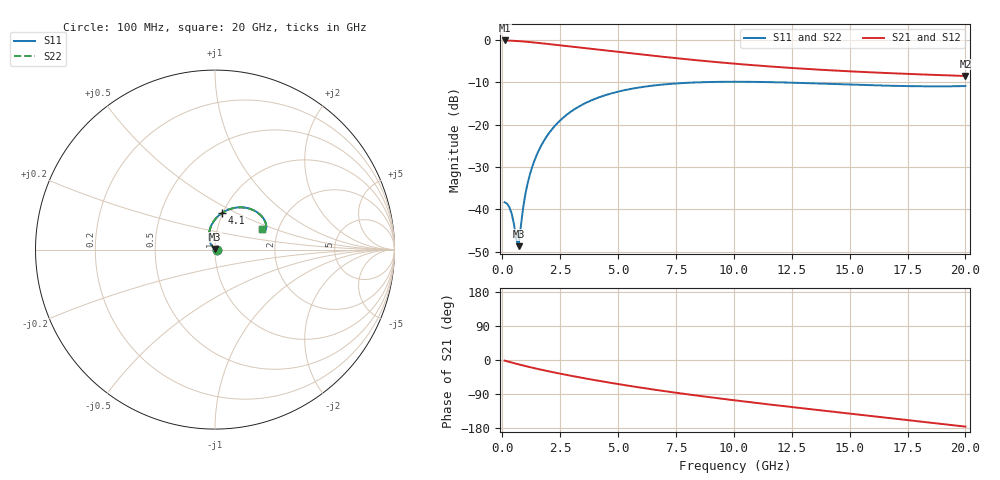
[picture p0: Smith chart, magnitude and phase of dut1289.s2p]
! Touchstone file exported from HFSS 2024.1.0
!  File:  C:/UserFiles/LocalFiles/RDL_TSV_Batchsim/temp_RDL_TSV_1289_1780279431.aedt
!  Generated:  10:16:05 AM Jun  1, 2026
!  Design:  RDL_TSV
!  Project:  temp_RDL_TSV_1289_1780279431
!  Setup:  Setup1
!  Solution:  Sweep
! Variables:
!  dtsv = 13.96um
!  hbump = 3um
!  htsv = 58.2um
!  ldown = 515.19um
!  lrdl = 253.26um
!  p = 40
!  p1 = 54.18um
!  rhole = 10um
!  subl = 2558.61um
!  t = 450um
!  tdown = 3.6um
!  trdl = 4.96um
!  viad = 10um
!  wdown = 17.43um
!  wrdl = 23.64um
!  xbump = 18um
# GHz S MA R 50.000000
! Terminal data exported
! Port[1] = TM1_1_T1
! Port[2] = TM1_4_T1
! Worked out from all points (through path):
!   200 points, 100 MHz to 20 GHz, reference 50 ohm
!   highest |S21| = -0.11 dB at 100 MHz (marker M1); lowest = -8.5 dB at 20 GHz (marker M2)
!   group delay of S21, straight-line fit = 22.8 ps
!   lowest |S11| = -48.7 dB at 700 MHz (marker M3), VSWR 1.01, Z = 50.1 + j0.359 ohm
!   |S11| at or under -10 dB: start of sweep to 8.516 GHz; 11.88 GHz to end of sweep
!   |S22| runs from -48.8 to -9.9 dB; largest |S21 - S12| = 3.3e-14
!   S11 on the Smith chart (normalised r, x): 100 MHz: 1.02, +0.00; 4.1 GHz: 0.99, +0.42; 20 GHz: 1.64, +0.41
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0.1  0.01207 1.6  0.9873 -1.7  0.9873 -1.7  0.01207 1.6
! Gamma 0 0 0 0
! Port Impedance 50 0 50 0
0.3  0.01064 2.6  0.9836 -5.0  0.9836 -5.0  0.01065 2.6
0.4  0.008976 4.1  0.9808 -6.6  0.9808 -6.6  0.008984 4.1
0.5  0.006765 9.7  0.9777 -8.3  0.9777 -8.3  0.006776 9.6
0.6  0.004417 28.3  0.9741 -9.8  0.9741 -9.8  0.004427 28.1
0.7  0.003657 78.4  0.97 -11.4  0.97 -11.4  0.003649 78.1
0.9  0.01043 126.9  0.9607 -14.5  0.9607 -14.5  0.01039 126.9
1  0.01526 130.4  0.9556 -16.0  0.9556 -16.0  0.01522 130.4
1.2  0.02618 130.4  0.9446 -18.9  0.9446 -18.9  0.02612 130.4
1.5  0.04462 125.5  0.9269 -23.2  0.9269 -23.2  0.04453 125.5
1.9  0.07128 117.3  0.9021 -28.5  0.9021 -28.5  0.07114 117.3
2.3  0.09859 109.2  0.8773 -33.6  0.8773 -33.6  0.09842 109.2
2.8  0.1318 99.8  0.8469 -39.7  0.8469 -39.7  0.1316 99.8
3.5  0.1744 88.2  0.806 -47.7  0.806 -47.7  0.1741 88.2
4.1  0.2062 79.6  0.7723 -54.2  0.7723 -54.2  0.2059 79.6
5.3  0.2559 65.2  0.7091 -66.4  0.7091 -66.4  0.2555 65.2
6.8  0.295 51.4  0.6389 -80.3  0.6389 -80.3  0.2945 51.3
8.4  0.3154 40.3  0.5761 -93.8  0.5761 -93.8  0.3149 40.3
10.1  0.321 31.7  0.5227 -106.9  0.5227 -106.9  0.3204 31.7
13.4  0.3076 22.3  0.4505 -130.4  0.4505 -130.4  0.307 22.2
16.7  0.2879 20.4  0.4057 -153.0  0.4057 -153.0  0.2872 20.4
20  0.2853 23.7  0.3754 -175.8  0.3754 -175.8  0.2846 23.7
